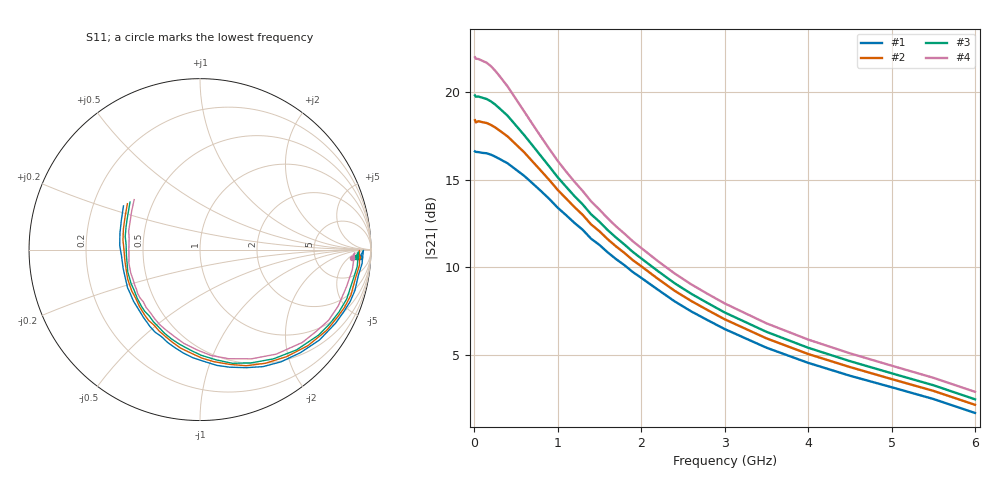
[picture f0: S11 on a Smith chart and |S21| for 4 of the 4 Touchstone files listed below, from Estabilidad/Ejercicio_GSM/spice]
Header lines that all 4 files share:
!  INFINEON TECHNOLOGIES Small Signal Semiconductors
! BFR360F , Si-NPN RF-Transistor T571A in TSFP3
! Common Emitter S-Parameters:  29. May 2001
#  GHz  S  MA  R  50
! f  S11  S21  S12  S22
! GHz  Mag  Ang  Mag  Ang  Mag  Ang  Mag  Ang
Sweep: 10 MHz to 6 GHz
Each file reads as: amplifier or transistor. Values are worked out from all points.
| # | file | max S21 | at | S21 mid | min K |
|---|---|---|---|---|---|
| 1 | F43V02M0.S2P | 16.6 dB | 10 MHz | 11.6 dB at 1.4 GHz | -0.07 |
| 2 | F43V02M5.S2P | 18.4 dB | 10 MHz | 12.5 dB at 1.4 GHz | -0.11 |
| 3 | F43V03M0.S2P | 19.8 dB | 10 MHz | 13.0 dB at 1.4 GHz | -0.12 |
| 4 | F43V04M0.S2P | 22.0 dB | 10 MHz | 13.8 dB at 1.4 GHz | -0.08 |
